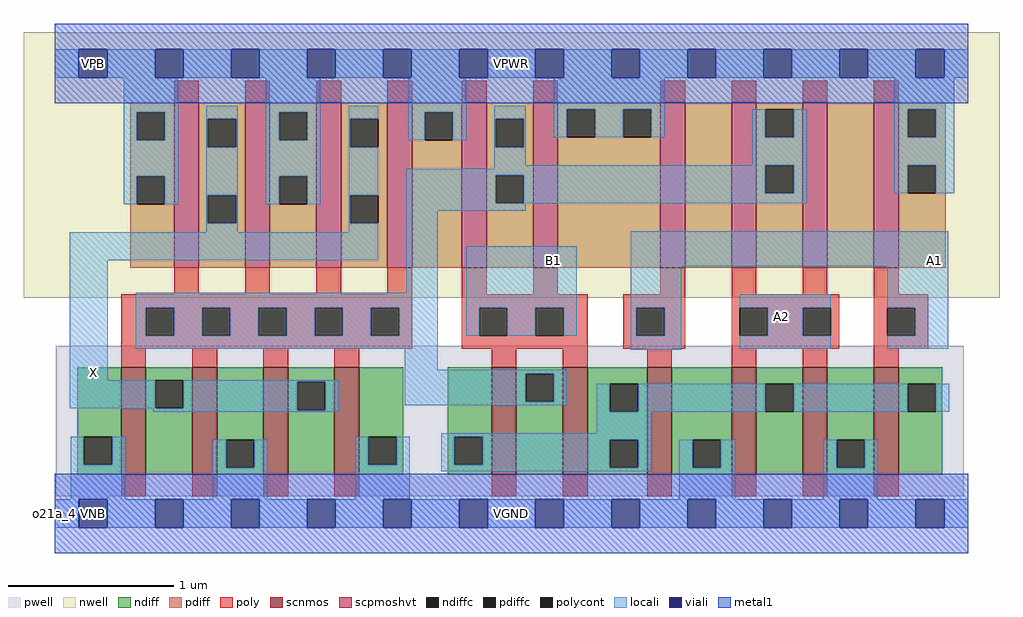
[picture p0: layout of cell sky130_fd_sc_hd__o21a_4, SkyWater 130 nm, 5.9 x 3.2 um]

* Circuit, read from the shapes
.subckt sky130_fd_sc_hd__o21a_4 A1 A2 B1 VGND VNB VPB VPWR X
XM1 X n1 VGND VNB sky130_fd_pr__nfet_01v8 w=0.65 l=0.15 m=4
XM2 n1 B1 n2 VNB sky130_fd_pr__nfet_01v8 w=0.65 l=0.15 m=2
XM3 VGND A1 n2 VNB sky130_fd_pr__nfet_01v8 w=0.65 l=0.15 m=2
XM4 n2 A2 VGND VNB sky130_fd_pr__nfet_01v8 w=0.65 l=0.15 m=2
XM5 X n1 VPWR VPB sky130_fd_pr__pfet_01v8_hvt w=1 l=0.15 m=4
XM6 n1 B1 VPWR VPB sky130_fd_pr__pfet_01v8_hvt w=1 l=0.15 m=2
XM7 n3 A1 VPWR VPB sky130_fd_pr__pfet_01v8_hvt w=1 l=0.15
XM8 n1 A2 n3 VPB sky130_fd_pr__pfet_01v8_hvt w=1 l=0.15
XM9 n4 A2 n1 VPB sky130_fd_pr__pfet_01v8_hvt w=1 l=0.15
XM10 VPWR A1 n4 VPB sky130_fd_pr__pfet_01v8_hvt w=1 l=0.15
.ends

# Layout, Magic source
magic
tech sky130B
magscale 1 2
<< nwell >>
rect -38 261 1142 582
<< pwell >>
rect 1 21 1099 203
rect 30 -17 64 21
<< scnmos >>
rect 80 47 110 177
rect 166 47 196 177
rect 252 47 282 177
rect 338 47 368 177
rect 528 47 558 177
rect 614 47 644 177
rect 716 47 746 177
rect 818 47 848 177
rect 904 47 934 177
rect 990 47 1020 177
<< scpmoshvt >>
rect 144 297 174 497
rect 230 297 260 497
rect 316 297 346 497
rect 402 297 432 497
rect 492 297 522 497
rect 578 297 608 497
rect 732 297 762 497
rect 818 297 848 497
rect 904 297 934 497
rect 990 297 1020 497
<< ndiff >>
rect 27 93 80 177
rect 27 59 35 93
rect 69 59 80 93
rect 27 47 80 59
rect 110 161 166 177
rect 110 127 121 161
rect 155 127 166 161
rect 110 47 166 127
rect 196 89 252 177
rect 196 55 207 89
rect 241 55 252 89
rect 196 47 252 55
rect 282 159 338 177
rect 282 125 293 159
rect 327 125 338 159
rect 282 47 338 125
rect 368 93 421 177
rect 368 59 379 93
rect 413 59 421 93
rect 368 47 421 59
rect 475 93 528 177
rect 475 59 483 93
rect 517 59 528 93
rect 475 47 528 59
rect 558 169 614 177
rect 558 135 569 169
rect 603 135 614 169
rect 558 47 614 135
rect 644 157 716 177
rect 644 123 671 157
rect 705 123 716 157
rect 644 89 716 123
rect 644 55 671 89
rect 705 55 716 89
rect 644 47 716 55
rect 746 89 818 177
rect 746 55 771 89
rect 805 55 818 89
rect 746 47 818 55
rect 848 157 904 177
rect 848 123 859 157
rect 893 123 904 157
rect 848 47 904 123
rect 934 89 990 177
rect 934 55 945 89
rect 979 55 990 89
rect 934 47 990 55
rect 1020 157 1073 177
rect 1020 123 1031 157
rect 1065 123 1073 157
rect 1020 47 1073 123
<< pdiff >>
rect 91 485 144 497
rect 91 451 99 485
rect 133 451 144 485
rect 91 408 144 451
rect 91 374 99 408
rect 133 374 144 408
rect 91 297 144 374
rect 174 477 230 497
rect 174 443 185 477
rect 219 443 230 477
rect 174 385 230 443
rect 174 351 185 385
rect 219 351 230 385
rect 174 297 230 351
rect 260 485 316 497
rect 260 451 271 485
rect 305 451 316 485
rect 260 408 316 451
rect 260 374 271 408
rect 305 374 316 408
rect 260 297 316 374
rect 346 477 402 497
rect 346 443 357 477
rect 391 443 402 477
rect 346 385 402 443
rect 346 351 357 385
rect 391 351 402 385
rect 346 297 402 351
rect 432 485 492 497
rect 432 451 447 485
rect 481 451 492 485
rect 432 297 492 451
rect 522 477 578 497
rect 522 443 533 477
rect 567 443 578 477
rect 522 409 578 443
rect 522 375 533 409
rect 567 375 578 409
rect 522 297 578 375
rect 608 489 732 497
rect 608 455 619 489
rect 653 455 687 489
rect 721 455 732 489
rect 608 297 732 455
rect 762 297 818 497
rect 848 489 904 497
rect 848 455 859 489
rect 893 455 904 489
rect 848 421 904 455
rect 848 387 859 421
rect 893 387 904 421
rect 848 297 904 387
rect 934 297 990 497
rect 1020 489 1077 497
rect 1020 455 1031 489
rect 1065 455 1077 489
rect 1020 421 1077 455
rect 1020 387 1031 421
rect 1065 387 1077 421
rect 1020 297 1077 387
<< ndiffc >>
rect 35 59 69 93
rect 121 127 155 161
rect 207 55 241 89
rect 293 125 327 159
rect 379 59 413 93
rect 483 59 517 93
rect 569 135 603 169
rect 671 123 705 157
rect 671 55 705 89
rect 771 55 805 89
rect 859 123 893 157
rect 945 55 979 89
rect 1031 123 1065 157
<< pdiffc >>
rect 99 451 133 485
rect 99 374 133 408
rect 185 443 219 477
rect 185 351 219 385
rect 271 451 305 485
rect 271 374 305 408
rect 357 443 391 477
rect 357 351 391 385
rect 447 451 481 485
rect 533 443 567 477
rect 533 375 567 409
rect 619 455 653 489
rect 687 455 721 489
rect 859 455 893 489
rect 859 387 893 421
rect 1031 455 1065 489
rect 1031 387 1065 421
<< poly >>
rect 144 497 174 523
rect 230 497 260 523
rect 316 497 346 523
rect 402 497 432 523
rect 492 497 522 523
rect 578 497 608 523
rect 732 497 762 523
rect 818 497 848 523
rect 904 497 934 523
rect 990 497 1020 523
rect 144 265 174 297
rect 230 265 260 297
rect 316 265 346 297
rect 402 265 432 297
rect 80 249 432 265
rect 80 215 110 249
rect 144 215 178 249
rect 212 215 246 249
rect 280 215 314 249
rect 348 215 382 249
rect 416 215 432 249
rect 80 199 432 215
rect 492 265 522 297
rect 578 265 608 297
rect 732 265 762 297
rect 492 249 644 265
rect 492 215 513 249
rect 547 215 581 249
rect 615 215 644 249
rect 492 199 644 215
rect 687 249 762 265
rect 687 215 703 249
rect 737 215 762 249
rect 687 199 762 215
rect 818 265 848 297
rect 904 265 934 297
rect 990 265 1020 297
rect 818 249 948 265
rect 818 215 828 249
rect 862 215 904 249
rect 938 215 948 249
rect 818 199 948 215
rect 990 249 1056 265
rect 990 215 1006 249
rect 1040 215 1056 249
rect 990 199 1056 215
rect 80 177 110 199
rect 166 177 196 199
rect 252 177 282 199
rect 338 177 368 199
rect 528 177 558 199
rect 614 177 644 199
rect 716 177 746 199
rect 818 177 848 199
rect 904 177 934 199
rect 990 177 1020 199
rect 80 21 110 47
rect 166 21 196 47
rect 252 21 282 47
rect 338 21 368 47
rect 528 21 558 47
rect 614 21 644 47
rect 716 21 746 47
rect 818 21 848 47
rect 904 21 934 47
rect 990 21 1020 47
<< polycont >>
rect 110 215 144 249
rect 178 215 212 249
rect 246 215 280 249
rect 314 215 348 249
rect 382 215 416 249
rect 513 215 547 249
rect 581 215 615 249
rect 703 215 737 249
rect 828 215 862 249
rect 904 215 938 249
rect 1006 215 1040 249
<< locali >>
rect 0 527 29 561
rect 63 527 121 561
rect 155 527 213 561
rect 247 527 305 561
rect 339 527 397 561
rect 431 527 489 561
rect 523 527 581 561
rect 615 527 673 561
rect 707 527 765 561
rect 799 527 857 561
rect 891 527 949 561
rect 983 527 1041 561
rect 1075 527 1104 561
rect 83 485 149 527
rect 83 451 99 485
rect 133 451 149 485
rect 83 408 149 451
rect 83 374 99 408
rect 133 374 149 408
rect 183 477 221 493
rect 183 443 185 477
rect 219 443 221 477
rect 183 385 221 443
rect 183 351 185 385
rect 219 351 221 385
rect 255 485 321 527
rect 255 451 271 485
rect 305 451 321 485
rect 255 408 321 451
rect 255 374 271 408
rect 305 374 321 408
rect 355 477 391 493
rect 355 443 357 477
rect 427 485 497 527
rect 427 451 447 485
rect 481 451 497 485
rect 531 477 569 493
rect 355 385 391 443
rect 531 443 533 477
rect 567 443 569 477
rect 603 489 737 527
rect 1015 489 1087 527
rect 603 455 619 489
rect 653 455 687 489
rect 721 455 737 489
rect 843 455 859 489
rect 893 455 909 489
rect 531 421 569 443
rect 843 421 909 455
rect 531 417 859 421
rect 183 340 221 351
rect 355 351 357 385
rect 355 340 391 351
rect 18 306 391 340
rect 425 409 859 417
rect 425 375 533 409
rect 567 387 859 409
rect 893 387 909 421
rect 1015 455 1031 489
rect 1065 455 1087 489
rect 1015 421 1087 455
rect 1015 387 1031 421
rect 1065 387 1087 421
rect 567 375 909 387
rect 425 366 569 375
rect 18 161 64 306
rect 425 267 463 366
rect 98 249 463 267
rect 98 215 110 249
rect 144 215 178 249
rect 212 215 246 249
rect 280 215 314 249
rect 348 215 382 249
rect 416 215 463 249
rect 497 249 631 323
rect 497 215 513 249
rect 547 215 581 249
rect 615 215 631 249
rect 696 299 1080 341
rect 696 249 757 299
rect 696 215 703 249
rect 737 215 757 249
rect 98 199 463 215
rect 423 174 463 199
rect 696 198 757 215
rect 828 249 938 265
rect 862 215 904 249
rect 828 199 938 215
rect 1006 249 1080 299
rect 1040 215 1080 249
rect 1006 199 1080 215
rect 423 169 619 174
rect 18 127 121 161
rect 155 159 343 161
rect 155 127 293 159
rect 119 125 293 127
rect 327 125 343 159
rect 423 135 569 169
rect 603 135 619 169
rect 423 131 619 135
rect 119 123 343 125
rect 655 123 671 157
rect 705 123 859 157
rect 893 123 1031 157
rect 1065 123 1081 157
rect 655 97 721 123
rect 467 93 721 97
rect 19 59 35 93
rect 69 59 85 93
rect 19 17 85 59
rect 191 55 207 89
rect 241 55 257 89
rect 191 17 257 55
rect 363 59 379 93
rect 413 59 429 93
rect 363 17 429 59
rect 467 59 483 93
rect 517 89 721 93
rect 517 59 671 89
rect 467 55 671 59
rect 705 55 721 89
rect 467 51 721 55
rect 755 55 771 89
rect 805 55 823 89
rect 755 17 823 55
rect 929 55 945 89
rect 979 55 995 89
rect 929 17 995 55
rect 0 -17 29 17
rect 63 -17 121 17
rect 155 -17 213 17
rect 247 -17 305 17
rect 339 -17 397 17
rect 431 -17 489 17
rect 523 -17 581 17
rect 615 -17 673 17
rect 707 -17 765 17
rect 799 -17 857 17
rect 891 -17 949 17
rect 983 -17 1041 17
rect 1075 -17 1104 17
<< viali >>
rect 29 527 63 561
rect 121 527 155 561
rect 213 527 247 561
rect 305 527 339 561
rect 397 527 431 561
rect 489 527 523 561
rect 581 527 615 561
rect 673 527 707 561
rect 765 527 799 561
rect 857 527 891 561
rect 949 527 983 561
rect 1041 527 1075 561
rect 29 -17 63 17
rect 121 -17 155 17
rect 213 -17 247 17
rect 305 -17 339 17
rect 397 -17 431 17
rect 489 -17 523 17
rect 581 -17 615 17
rect 673 -17 707 17
rect 765 -17 799 17
rect 857 -17 891 17
rect 949 -17 983 17
rect 1041 -17 1075 17
<< metal1 >>
rect 0 561 1104 592
rect 0 527 29 561
rect 63 527 121 561
rect 155 527 213 561
rect 247 527 305 561
rect 339 527 397 561
rect 431 527 489 561
rect 523 527 581 561
rect 615 527 673 561
rect 707 527 765 561
rect 799 527 857 561
rect 891 527 949 561
rect 983 527 1041 561
rect 1075 527 1104 561
rect 0 496 1104 527
rect 0 17 1104 48
rect 0 -17 29 17
rect 63 -17 121 17
rect 155 -17 213 17
rect 247 -17 305 17
rect 339 -17 397 17
rect 431 -17 489 17
rect 523 -17 581 17
rect 615 -17 673 17
rect 707 -17 765 17
rect 799 -17 857 17
rect 891 -17 949 17
rect 983 -17 1041 17
rect 1075 -17 1104 17
rect 0 -48 1104 -17
<< labels >>
flabel locali s 1046 289 1080 323 0 FreeSans 340 0 0 0 A1
port 1 nsew signal input
flabel locali s 862 221 896 255 0 FreeSans 340 0 0 0 A2
port 2 nsew signal input
flabel locali s 586 289 620 323 0 FreeSans 340 0 0 0 B1
port 3 nsew signal input
flabel locali s 30 153 64 187 0 FreeSans 340 0 0 0 X
port 8 nsew signal output
flabel pwell s 30 -17 64 17 0 FreeSans 200 0 0 0 VNB
port 5 nsew ground bidirectional
flabel nwell s 30 527 64 561 0 FreeSans 200 0 0 0 VPB
port 6 nsew power bidirectional
flabel metal1 s 30 527 64 561 0 FreeSans 200 0 0 0 VPWR
port 7 nsew power bidirectional abutment
flabel metal1 s 30 -17 64 17 0 FreeSans 200 0 0 0 VGND
port 4 nsew ground bidirectional abutment
rlabel comment s 0 0 0 0 4 o21a_4
rlabel metal1 s 0 -48 1104 48 1 VGND
port 4 nsew ground bidirectional abutment
rlabel metal1 s 0 496 1104 592 1 VPWR
port 7 nsew power bidirectional abutment
<< properties >>
string FIXED_BBOX 0 0 1104 544
string GDS_END 1294806
string GDS_FILE $PDKPATH/libs.ref/sky130_fd_sc_hd/gds/sky130_fd_sc_hd.gds
string GDS_START 1286882
string LEFclass CORE
string LEFsite unithd
string LEFsymmetry X Y R90
string path 0.000 0.000 5.520 0.000 
<< end >>
